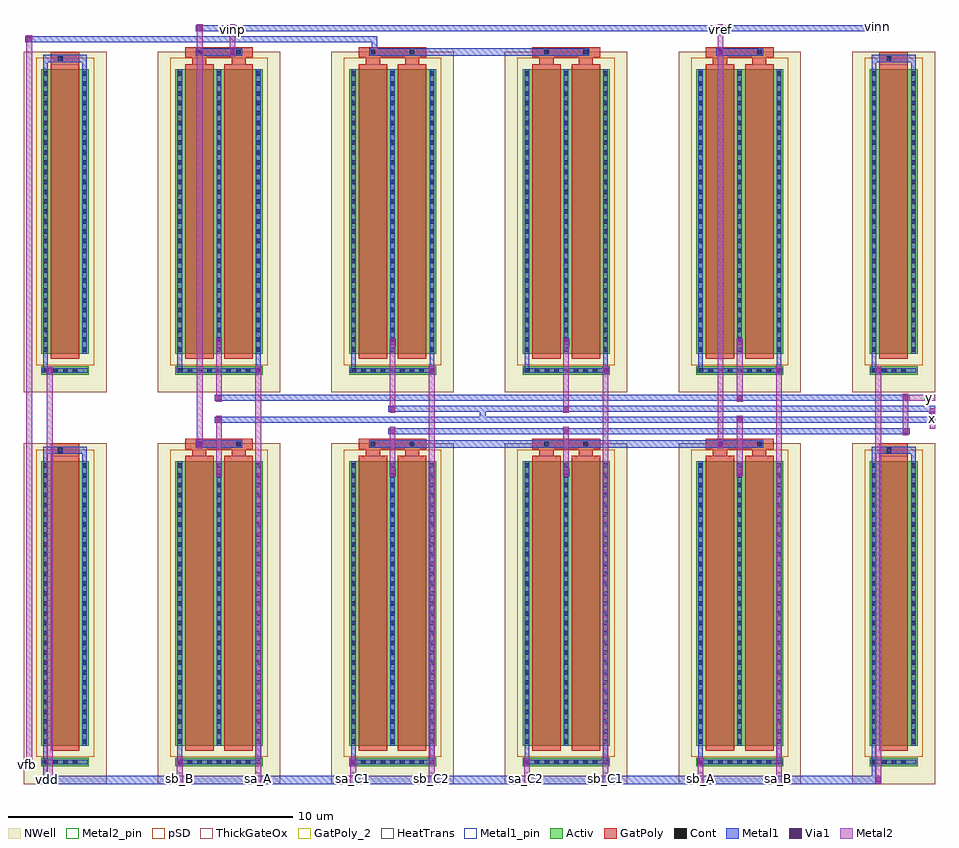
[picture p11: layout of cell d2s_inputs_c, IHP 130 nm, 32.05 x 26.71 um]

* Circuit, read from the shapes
.subckt d2s_inputs_c sa_A sa_B sa_C1 sa_C2 sb_A sb_B sb_C1 sb_C2 vdd vfb vinn vinp vref x y
XM1 vdd vdd vdd vdd sg13_hv_pmos w=10u l=1u m=4
XM2 x vinn sb_B sb_B sg13_hv_pmos w=10u l=1u m=2
XM3 y vinp sa_A sa_A sg13_hv_pmos w=10u l=1u m=2
XM4 y vref sa_C1 sa_C1 sg13_hv_pmos w=10u l=1u m=2
XM5 x vfb sb_C2 sb_C2 sg13_hv_pmos w=10u l=1u m=2
XM6 y vref sa_C2 sa_C2 sg13_hv_pmos w=10u l=1u m=2
XM7 x vfb sb_C1 sb_C1 sg13_hv_pmos w=10u l=1u m=2
XM8 x vref sb_A sb_A sg13_hv_pmos w=10u l=1u m=2
XM9 y vref sa_B sa_B sg13_hv_pmos w=10u l=1u m=2
.ends

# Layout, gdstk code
import gdstk
lib = gdstk.Library(unit=1e-6, precision=1e-09)
def R(c, l, rs):  # rectangles x0, y0, x1, y1
    for r in rs: c.add(gdstk.rectangle(r[:2], r[2:], *l))
def A(c, l, x, y, w, h, nx, ny, dx, dy):  # array of equal rectangles
    R(c, l, [(x+i*dx, y+j*dy, x+i*dx+w, y+j*dy+h) for i in range(nx) for j in range(ny)])
Activ = (1, 0)
GatPoly = (5, 0)
GatPoly_2 = (5, 2)
Cont = (6, 0)
Metal1 = (8, 0)
Metal1_pin = (8, 2)
Metal2 = (10, 0)
Metal2_pin = (10, 2)
pSD = (14, 0)
Via1 = (19, 0)
NWell = (31, 0)
ThickGateOx = (44, 0)
HeatTrans = (51, 0)

pmoshv = lib.new_cell('pmosHV')
A(pmoshv, Activ, 0, 0, 0.3, 0.3, 3, 1, 1.38, 0)
R(pmoshv, Activ, [(0,0,3.06,10)])
R(pmoshv, GatPoly, [(0.34,-0.18,1.34,10.18), (1.72,-0.18,2.72,10.18)])
R(pmoshv, GatPoly_2, [(0.34,-0.18,1.34,10.18)])
A(pmoshv, Cont, 0.07, 0.07, 0.16, 0.16, 3, 4, 1.38, 0.345)
A(pmoshv, Cont, 0.07, 1.455, 0.16, 0.16, 3, 3, 1.38, 0.345)
A(pmoshv, Cont, 0.07, 2.495, 0.16, 0.16, 3, 4, 1.38, 0.345)
A(pmoshv, Cont, 0.07, 3.88, 0.16, 0.16, 3, 3, 1.38, 0.345)
A(pmoshv, Cont, 0.07, 4.92, 0.16, 0.16, 3, 4, 1.38, 0.345)
A(pmoshv, Cont, 0.07, 6.305, 0.16, 0.16, 3, 3, 1.38, 0.345)
A(pmoshv, Cont, 0.07, 7.345, 0.16, 0.16, 3, 4, 1.38, 0.345)
A(pmoshv, Cont, 0.07, 8.73, 0.16, 0.16, 3, 3, 1.38, 0.345)
A(pmoshv, Cont, 0.07, 9.77, 0.16, 0.16, 3, 1, 1.38, 0)
A(pmoshv, Metal1, 0.07, 0, 0.16, 10, 3, 1, 1.38, 0)
R(pmoshv, Metal1_pin, [(0.07,0,0.23,10), (1.45,0,1.61,10)])
R(pmoshv, pSD, [(-0.18,-0.4,3.24,10.4)])
R(pmoshv, NWell, [(-0.62,-0.62,3.68,10.62)])
R(pmoshv, ThickGateOx, [(-0.62,-0.62,3.68,10.62)])
R(pmoshv, HeatTrans, [(0.34,-0.18,1.34,10.18), (1.72,-0.18,2.72,10.18)])
pmoshv.add(gdstk.Label('pmos', (0.84,5), layer=51, texttype=0))
pmoshv.add(gdstk.Label('pmos', (2.22,5), layer=51, texttype=0))
pmoshv.add(gdstk.Label('pmosHV', (0.84,5), layer=63, texttype=0))

pmoshv_14 = lib.new_cell('pmosHV$14')
R(pmoshv_14, Activ, [(0,0,0.3,0.3), (0,0,1.68,10), (1.38,0,1.68,0.3)])
R(pmoshv_14, GatPoly, [(0.34,-0.18,1.34,10.18)])
R(pmoshv_14, GatPoly_2, [(0.34,-0.18,1.34,10.18)])
A(pmoshv_14, Cont, 0.07, 0.07, 0.16, 0.16, 1, 4, 0, 0.345)
A(pmoshv_14, Cont, 1.45, 0.07, 0.16, 0.16, 1, 4, 0, 0.345)
A(pmoshv_14, Cont, 0.07, 1.455, 0.16, 0.16, 1, 3, 0, 0.345)
A(pmoshv_14, Cont, 1.45, 1.455, 0.16, 0.16, 1, 3, 0, 0.345)
A(pmoshv_14, Cont, 0.07, 2.495, 0.16, 0.16, 1, 4, 0, 0.345)
A(pmoshv_14, Cont, 1.45, 2.495, 0.16, 0.16, 1, 4, 0, 0.345)
A(pmoshv_14, Cont, 0.07, 3.88, 0.16, 0.16, 1, 3, 0, 0.345)
A(pmoshv_14, Cont, 1.45, 3.88, 0.16, 0.16, 1, 3, 0, 0.345)
A(pmoshv_14, Cont, 0.07, 4.92, 0.16, 0.16, 1, 4, 0, 0.345)
A(pmoshv_14, Cont, 1.45, 4.92, 0.16, 0.16, 1, 4, 0, 0.345)
A(pmoshv_14, Cont, 0.07, 6.305, 0.16, 0.16, 1, 3, 0, 0.345)
A(pmoshv_14, Cont, 1.45, 6.305, 0.16, 0.16, 1, 3, 0, 0.345)
A(pmoshv_14, Cont, 0.07, 7.345, 0.16, 0.16, 1, 4, 0, 0.345)
A(pmoshv_14, Cont, 1.45, 7.345, 0.16, 0.16, 1, 4, 0, 0.345)
A(pmoshv_14, Cont, 0.07, 8.73, 0.16, 0.16, 1, 3, 0, 0.345)
A(pmoshv_14, Cont, 1.45, 8.73, 0.16, 0.16, 1, 3, 0, 0.345)
R(pmoshv_14, Cont, [(0.07,9.77,0.23,9.93), (1.45,9.77,1.61,9.93)])
R(pmoshv_14, Metal1, [(0.07,0,0.23,10), (1.45,0,1.61,10)])
R(pmoshv_14, Metal1_pin, [(0.07,0,0.23,10), (1.45,0,1.61,10)])
R(pmoshv_14, pSD, [(-0.18,-0.4,1.86,10.4)])
R(pmoshv_14, NWell, [(-0.62,-0.62,2.3,10.62)])
R(pmoshv_14, ThickGateOx, [(-0.62,-0.62,2.3,10.62)])
R(pmoshv_14, HeatTrans, [(0.34,-0.18,1.34,10.18)])
pmoshv_14.add(gdstk.Label('pmos', (0.84,5), layer=51, texttype=0))
pmoshv_14.add(gdstk.Label('pmosHV', (0.84,5), layer=63, texttype=0))

d2s_inputs_c = lib.new_cell('d2s_inputs_c')
A(d2s_inputs_c, Activ, 5.34, 0.62, 3.06, 0.3, 4, 2, 6.1, 13.77)
R(d2s_inputs_c, Activ, [(0.62,0.62,2.3,0.92), (29.74,0.62,31.42,0.92), (0.62,14.39,2.3,14.69), (29.74,14.39,31.42,14.69)])
A(d2s_inputs_c, GatPoly, 5.68, 11.77, 2.38, 0.36, 4, 2, 6.1, 13.77)
R(d2s_inputs_c, GatPoly, [(0.96,11.35,1.96,11.97), (5.93,11.35,6.43,11.78), (7.31,11.35,7.81,11.78), (12.03,11.35,12.53,11.78), (13.41,11.35,13.91,11.78), (18.13,11.35,18.63,11.78), (19.51,11.35,20.01,11.78), (24.23,11.35,24.73,11.78), (25.61,11.35,26.11,11.78), (30.08,11.35,31.08,11.97), (0.96,25.12,1.96,25.74), (5.93,25.12,6.43,25.55), (7.31,25.12,7.81,25.55), (12.03,25.12,12.53,25.55), (13.41,25.12,13.91,25.55), (18.13,25.12,18.63,25.55), (19.51,25.12,20.01,25.55), (24.23,25.12,24.73,25.55), (25.61,25.12,26.11,25.55), (30.08,25.12,31.08,25.74)])
A(d2s_inputs_c, Cont, 0.71, 0.69, 0.16, 0.16, 4, 2, 0.34, 13.77)
A(d2s_inputs_c, Cont, 5.43, 0.69, 0.16, 0.16, 9, 2, 0.34, 13.77)
A(d2s_inputs_c, Cont, 11.53, 0.69, 0.16, 0.16, 9, 2, 0.34, 13.77)
A(d2s_inputs_c, Cont, 17.63, 0.69, 0.16, 0.16, 9, 2, 0.34, 13.77)
A(d2s_inputs_c, Cont, 23.73, 0.69, 0.16, 0.16, 9, 2, 0.34, 13.77)
A(d2s_inputs_c, Cont, 29.83, 0.69, 0.16, 0.16, 4, 2, 0.34, 13.77)
R(d2s_inputs_c, Cont, [(1.21,11.65,1.37,11.81), (30.33,11.65,30.49,11.81), (6.1,11.87,6.26,12.03), (7.48,11.87,7.64,12.03), (12.2,11.87,12.36,12.03), (13.58,11.87,13.74,12.03), (18.3,11.87,18.46,12.03), (19.68,11.87,19.84,12.03), (24.4,11.87,24.56,12.03), (25.78,11.87,25.94,12.03), (1.21,25.42,1.37,25.58), (30.33,25.42,30.49,25.58), (6.1,25.64,6.26,25.8), (7.48,25.64,7.64,25.8), (12.2,25.64,12.36,25.8), (13.58,25.64,13.74,25.8), (18.3,25.64,18.46,25.8), (19.68,25.64,19.84,25.8), (24.4,25.64,24.56,25.8), (25.78,25.64,25.94,25.8)])
A(d2s_inputs_c, Metal1, 5.385, 0.625, 0.21, 0.29, 4, 1, 6.1, 0)
A(d2s_inputs_c, Metal1, 5.38, 0.69, 2.98, 0.16, 4, 2, 6.1, 13.77)
A(d2s_inputs_c, Metal1, 6.765, 10.805, 0.21, 0.29, 4, 2, 6.1, 4.57)
A(d2s_inputs_c, Metal1, 6.05, 11.82, 1.64, 0.26, 4, 2, 6.1, 13.77)
A(d2s_inputs_c, Metal1, 8.145, 14.395, 0.21, 0.29, 4, 1, 6.1, 0)
R(d2s_inputs_c, Metal1, [(0.69,0,29.97,0.29), (0.815,0.005,1.025,0.295), (29.935,0.005,30.145,0.295), (0.69,0.29,0.85,0.69), (29.81,0.29,29.97,0.69), (0.66,0.69,2.26,0.85), (0.69,0.69,0.85,11.86), (5.41,0.69,5.57,1.35), (8.17,0.69,8.33,1.35), (11.51,0.69,11.67,1.35), (14.27,0.69,14.43,1.35), (17.61,0.69,17.77,1.35), (20.37,0.69,20.53,1.35), (23.71,0.69,23.87,1.35), (26.47,0.69,26.63,1.35), (29.78,0.69,31.38,0.85), (29.81,0.69,29.97,11.86), (2.07,1.35,2.23,11.86), (31.19,1.35,31.35,11.86), (0.69,11.6,2.23,11.86), (29.81,11.6,31.35,11.86), (6.085,11.805,6.295,12.095), (24.385,11.805,24.595,12.095), (12.15,11.82,25.99,12.08), (12.825,12.3,13.115,12.51), (12.825,12.3,31.105,12.51), (18.925,12.3,19.215,12.51), (30.855,12.3,31.145,12.51), (6.725,12.69,7.015,12.9), (6.725,12.69,31.945,12.9), (16.04,12.69,16.25,13.29), (25.025,12.69,25.315,12.9), (31.84,12.69,32.05,13.29), (12.825,13.08,13.115,13.29), (12.825,13.08,31.945,13.29), (18.925,13.08,19.215,13.29), (6.725,13.47,7.015,13.68), (6.725,13.47,31.105,13.68), (25.025,13.47,25.315,13.68), (30.855,13.47,31.145,13.68), (0.815,14.395,1.025,14.685), (29.935,14.395,30.145,14.685), (0.66,14.46,2.26,14.62), (0.69,14.46,0.85,25.63), (5.41,14.46,5.57,15.12), (8.17,14.46,8.33,15.12), (11.51,14.46,11.67,15.12), (14.27,14.46,14.43,15.12), (17.61,14.46,17.77,15.12), (20.37,14.46,20.53,15.12), (23.71,14.46,23.87,15.12), (26.47,14.46,26.63,15.12), (29.78,14.46,31.38,14.62), (29.81,14.46,29.97,25.63), (2.07,15.12,2.23,25.63), (31.19,15.12,31.35,25.63), (0.69,25.37,2.23,25.63), (29.81,25.37,31.35,25.63), (7.235,25.575,7.445,25.865), (24.385,25.575,24.595,25.865), (12.15,25.59,19.89,25.85), (12.24,25.59,12.44,26.28), (0.055,26.07,0.345,26.28), (0.095,26.07,12.44,26.28), (6.045,26.46,6.335,26.67), (6.045,26.46,30.145,26.67), (29.855,26.46,30.145,26.67)])
R(d2s_inputs_c, Metal1_pin, [(0.69,0,0.98,0.29)])
A(d2s_inputs_c, Metal2, 5.39, 0, 0.2, 0.915, 4, 1, 6.1, 0)
A(d2s_inputs_c, Metal2, 8.15, 0, 0.2, 14.685, 4, 1, 6.1, 0)
A(d2s_inputs_c, Metal2, 5.39, 0.625, 0.2, 0.29, 4, 1, 6.1, 0)
A(d2s_inputs_c, Metal2, 6.77, 10.805, 0.2, 0.29, 4, 2, 6.1, 4.57)
A(d2s_inputs_c, Metal2, 8.15, 14.395, 0.2, 0.29, 4, 1, 6.1, 0)
R(d2s_inputs_c, Metal2, [(0.82,0.005,1.02,0.295), (0.82,0.005,1.02,14.685), (29.94,0.005,30.14,0.295), (29.94,0.005,30.14,14.685), (0,0.55,0.3,0.8), (0.1,0.55,0.3,26.32), (6.77,10.805,6.97,12.94), (12.87,10.805,13.07,12.55), (18.97,10.805,19.17,12.55), (25.07,10.805,25.27,12.94), (6.09,11.805,6.29,12.095), (6.09,11.805,6.29,26.71), (24.39,11.805,24.59,12.095), (24.39,11.805,24.59,26.71), (12.87,12.26,13.07,12.55), (18.97,12.26,19.17,12.55), (30.9,12.26,31.1,12.55), (30.9,12.26,31.1,13.72), (31.845,12.48,32.045,13.2), (6.77,12.65,6.97,12.94), (25.07,12.65,25.27,12.94), (12.87,13.04,13.07,13.33), (12.87,13.04,13.07,15.665), (18.97,13.04,19.17,13.33), (18.97,13.04,19.17,15.665), (6.77,13.43,6.97,13.72), (6.77,13.43,6.97,15.665), (25.07,13.43,25.27,13.72), (25.07,13.43,25.27,15.665), (30.9,13.43,31.1,13.72), (31,13.475,32.05,13.675), (0.82,14.395,1.02,14.685), (29.94,14.395,30.14,14.685), (7.24,25.575,7.44,25.865), (7.24,25.575,7.44,26.71), (24.39,25.575,24.59,25.865), (0.1,26.03,0.3,26.32), (6.09,26.42,6.29,26.71), (29.9,26.42,30.1,26.71), (29.9,26.42,30.1,26.71), (29.6,26.51,30.4,26.71)])
R(d2s_inputs_c, Metal2_pin, [(5.39,0,5.59,0.4), (8.15,0,8.35,0.4), (11.49,0,11.69,0.4), (14.25,0,14.45,0.4), (17.59,0,17.79,0.4), (20.35,0,20.55,0.4), (23.69,0,23.89,0.4), (26.45,0,26.65,0.4), (0,0.55,0.3,0.8), (31.845,12.48,32.045,13.2), (31.65,13.475,32.05,13.675), (7.24,26.31,7.44,26.71), (24.39,26.31,24.59,26.71), (29.6,26.51,30.4,26.71)])
A(d2s_inputs_c, Via1, 5.395, 0.675, 0.19, 0.19, 4, 1, 6.1, 0)
A(d2s_inputs_c, Via1, 6.775, 10.855, 0.19, 0.19, 4, 2, 6.1, 4.57)
A(d2s_inputs_c, Via1, 8.155, 14.445, 0.19, 0.19, 4, 1, 6.1, 0)
R(d2s_inputs_c, Via1, [(0.825,0.055,1.015,0.245), (29.945,0.055,30.135,0.245), (6.095,11.855,6.285,12.045), (24.395,11.855,24.585,12.045), (12.875,12.31,13.065,12.5), (18.975,12.31,19.165,12.5), (30.905,12.31,31.095,12.5), (6.775,12.7,6.965,12.89), (25.075,12.7,25.265,12.89), (31.85,12.895,32.04,13.085), (12.875,13.09,13.065,13.28), (18.975,13.09,19.165,13.28), (6.775,13.48,6.965,13.67), (25.075,13.48,25.265,13.67), (30.905,13.48,31.095,13.67), (0.825,14.445,1.015,14.635), (29.945,14.445,30.135,14.635), (7.245,25.625,7.435,25.815), (24.395,25.625,24.585,25.815), (0.105,26.08,0.295,26.27), (6.095,26.47,6.285,26.66), (29.905,26.47,30.095,26.66)])
A(d2s_inputs_c, NWell, 4.72, 0, 4.3, 11.97, 4, 2, 6.1, 13.77)
R(d2s_inputs_c, NWell, [(0,0,2.92,11.97), (29.12,0,32.05,11.97), (0,13.77,2.92,25.74), (29.12,13.77,32.05,25.74)])
A(d2s_inputs_c, ThickGateOx, 4.72, 0, 4.3, 11.97, 4, 2, 6.1, 13.77)
R(d2s_inputs_c, ThickGateOx, [(0,0,2.92,11.97), (29.12,0,32.05,11.97), (0,13.77,2.92,25.74), (29.12,13.77,32.05,25.74)])
d2s_inputs_c.add(gdstk.Reference(pmoshv, (5.34,15.12)))
d2s_inputs_c.add(gdstk.Reference(pmoshv, (11.44,15.12)))
d2s_inputs_c.add(gdstk.Reference(pmoshv, (17.54,15.12)))
d2s_inputs_c.add(gdstk.Reference(pmoshv, (23.64,15.12)))
d2s_inputs_c.add(gdstk.Reference(pmoshv, (5.34,1.35)))
d2s_inputs_c.add(gdstk.Reference(pmoshv, (11.44,1.35)))
d2s_inputs_c.add(gdstk.Reference(pmoshv, (17.54,1.35)))
d2s_inputs_c.add(gdstk.Reference(pmoshv, (23.64,1.35)))
d2s_inputs_c.add(gdstk.Reference(pmoshv_14, (0.62,15.12)))
d2s_inputs_c.add(gdstk.Reference(pmoshv_14, (0.62,1.35)))
d2s_inputs_c.add(gdstk.Reference(pmoshv_14, (29.74,15.12)))
d2s_inputs_c.add(gdstk.Reference(pmoshv_14, (29.74,1.35)))
d2s_inputs_c.add(gdstk.Label('sa_A', (8.25,0.2), layer=10, texttype=25))
d2s_inputs_c.add(gdstk.Label('sb_C2', (14.35,0.2), layer=10, texttype=25))
d2s_inputs_c.add(gdstk.Label('sb_C1', (20.45,0.2), layer=10, texttype=25))
d2s_inputs_c.add(gdstk.Label('sa_B', (26.55,0.2), layer=10, texttype=25))
d2s_inputs_c.add(gdstk.Label('sb_B', (5.49,0.2), layer=10, texttype=25))
d2s_inputs_c.add(gdstk.Label('sa_C1', (11.59,0.2), layer=10, texttype=25))
d2s_inputs_c.add(gdstk.Label('sa_C2', (17.69,0.2), layer=10, texttype=25))
d2s_inputs_c.add(gdstk.Label('sb_A', (23.79,0.2), layer=10, texttype=25))
d2s_inputs_c.add(gdstk.Label('x', (31.945,12.84), layer=10, texttype=25))
d2s_inputs_c.add(gdstk.Label('y', (31.85,13.575), layer=10, texttype=25))
d2s_inputs_c.add(gdstk.Label('vref', (24.49,26.51), layer=10, texttype=25))
d2s_inputs_c.add(gdstk.Label('vinp', (7.34,26.51), layer=10, texttype=25))
d2s_inputs_c.add(gdstk.Label('vinn', (30,26.61), layer=10, texttype=25))
d2s_inputs_c.add(gdstk.Label('vfb', (0.15,0.675), layer=10, texttype=25))
d2s_inputs_c.add(gdstk.Label('vdd', (0.835,0.145), layer=8, texttype=25))

lib.write_gds('d2s_inputs_c.gds')
